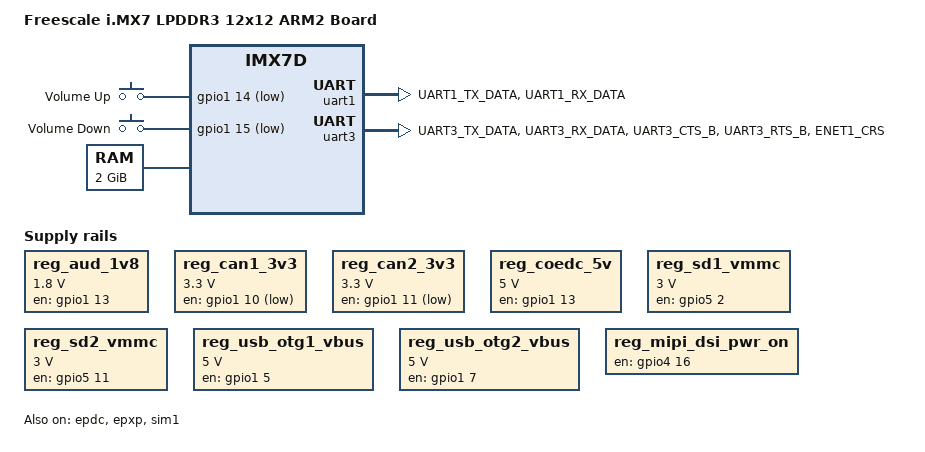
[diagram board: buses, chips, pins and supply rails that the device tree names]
/*
 * Copyright (C) 2015 Freescale Semiconductor, Inc.
 *
 * This program is free software; you can redistribute it and/or modify
 * it under the terms of the GNU General Public License version 2 as
 * published by the Free Software Foundation.
 */

/dts-v1/;

#include "imx7d.dtsi"

/ {
	model = "Freescale i.MX7 LPDDR3 12x12 ARM2 Board";
	compatible = "fsl,imx7d-12x12-lpddr3-arm2", "fsl,imx7d";

	backlight {
		compatible = "pwm-backlight";
		pwms = <&pwm1 0 5000000>;
		brightness-levels = <0 4 8 16 32 64 128 255>;
		default-brightness-level = <6>;
		status = "disabled";
	};

	gpio-keys {
		compatible = "gpio-keys";
		pinctrl-names = "default", "sleep";
		pinctrl-0 = <&pinctrl_gpio_keys>;
		pinctrl-1 = <&pinctrl_gpio_keys_sleep>;

		volume-up {
			label = "Volume Up";
			gpios = <&gpio1 14 GPIO_ACTIVE_LOW>;
			linux,code = <KEY_VOLUMEUP>;
		};

		volume-down {
			label = "Volume Down";
			gpios = <&gpio1 15 GPIO_ACTIVE_LOW>;
			linux,code = <KEY_VOLUMEDOWN>;
		};
	};

	pxp_v4l2_out {
		compatible = "fsl,imx7d-pxp-v4l2", "fsl,imx6sx-pxp-v4l2", "fsl,imx6sl-pxp-v4l2";
		status = "disabled";
	};

	regulators {
		compatible = "simple-bus";
		#address-cells = <1>;
		#size-cells = <0>;

		reg_aud_1v8: aud_1v8 {
			compatible = "regulator-fixed";
			regulator-name = "AUD_1V8";
			regulator-min-microvolt = <1800000>;
			regulator-max-microvolt = <1800000>;
			gpio = <&gpio1 13 GPIO_ACTIVE_HIGH>;
			enable-active-high;
		};

		reg_can1_3v3: can1-3v3 {
			compatible = "regulator-fixed";
			regulator-name = "can1-3v3";
			regulator-min-microvolt = <3300000>;
			regulator-max-microvolt = <3300000>;
			gpio = <&gpio1 10 GPIO_ACTIVE_LOW>;
		};

		reg_can2_3v3: can2-3v3 {
			compatible = "regulator-fixed";
			regulator-name = "can2-3v3";
			regulator-min-microvolt = <3300000>;
			regulator-max-microvolt = <3300000>;
			gpio = <&gpio1 11 GPIO_ACTIVE_LOW>;
		};

		reg_coedc_5v: coedc_5v {
			compatible = "regulator-fixed";
			regulator-name = "CODEC_5V";
			regulator-min-microvolt = <5000000>;
			regulator-max-microvolt = <5000000>;
			gpio = <&gpio1 13 GPIO_ACTIVE_HIGH>;
			enable-active-high;
		};

		reg_sd1_vmmc: sd1_vmmc{
			compatible = "regulator-fixed";
			regulator-name = "VCC_SD1";
			regulator-min-microvolt = <3000000>;
			regulator-max-microvolt = <3000000>;
			gpio = <&gpio5 2 GPIO_ACTIVE_HIGH>;
			enable-active-high;
		};

		reg_sd2_vmmc: sd2_vmmc{
			compatible = "regulator-fixed";
			regulator-name = "VCC_SD2";
			regulator-min-microvolt = <3000000>;
			regulator-max-microvolt = <3000000>;
			gpio = <&gpio5 11 GPIO_ACTIVE_HIGH>;
			enable-active-high;
		};

		reg_usb_otg1_vbus: regulator@0 {
			compatible = "regulator-fixed";
			reg = <0>;
			regulator-name = "usb_otg1_vbus";
			regulator-min-microvolt = <5000000>;
			regulator-max-microvolt = <5000000>;
			gpio = <&gpio1 5 GPIO_ACTIVE_HIGH>;
			enable-active-high;
		};

		reg_usb_otg2_vbus: regulator@1 {
			compatible = "regulator-fixed";
			reg = <1>;
			regulator-name = "usb_otg2_vbus";
			regulator-min-microvolt = <5000000>;
			regulator-max-microvolt = <5000000>;
			gpio = <&gpio1 7 GPIO_ACTIVE_HIGH>;
			enable-active-high;
		};

		reg_mipi_dsi_pwr_on: mipi_dsi_pwr_on {
			compatible = "regulator-fixed";
			regulator-name = "mipi_dsi_pwr_on";
			gpio = <&gpio4 16 GPIO_ACTIVE_HIGH>;
			enable-active-high;
                };
	};

	memory {
		reg = <0x80000000 0x80000000>;
	};
};

&cpu0 {
	arm-supply = <&sw1a_reg>;
};

&epdc {
        pinctrl-names = "default", "sleep";
        pinctrl-0 = <&pinctrl_epdc_0>;
        pinctrl-1 = <&pinctrl_epdc_0>;
        V3P3-supply = <&V3P3_reg>;
        VCOM-supply = <&VCOM_reg>;
        DISPLAY-supply = <&DISPLAY_reg>;
        status = "okay";
};

&epxp {
	status = "okay";
};

&ecspi1 {
	fsl,spi-num-chipselects = <1>;
	cs-gpios = <&gpio4 19 0>;
	pinctrl-names = "default";
	pinctrl-0 = <&pinctrl_ecspi1_1 &pinctrl_ecspi1_cs_1>;
	status = "disabled";

	spi_flash1: m25p80@0 {
		#address-cells = <1>;
		#size-cells = <1>;
		compatible = "st,m25p32";
		spi-max-frequency = <20000000>;
		reg = <0>;
	};
};

&fec1 {
	pinctrl-names = "default", "sleep";
	pinctrl-0 = <&pinctrl_enet1>;
	pinctrl-1 = <&pinctrl_enet1>;
	assigned-clocks = <&clks IMX7D_ENET1_TIME_ROOT_SRC>,
			  <&clks IMX7D_ENET1_TIME_ROOT_CLK>;
	assigned-clock-parents = <&clks IMX7D_PLL_ENET_MAIN_100M_CLK>;
	assigned-clock-rates = <0>, <100000000>;
	phy-mode = "rgmii";
	phy-handle = <&ethphy1>;
	fsl,magic-packet;
	status = "disabled";

	mdio {
		#address-cells = <1>;
		#size-cells = <0>;

		ethphy0: ethernet-phy@5 {
			compatible = "ethernet-phy-ieee802.3-c22";
			reg = <5>;
		};

		ethphy1: ethernet-phy@1 {
			compatible = "ethernet-phy-ieee802.3-c22";
			reg = <1>;
		};
	};
};

&fec2 {
	pinctrl-names = "default", "sleep";
	pinctrl-0 = <&pinctrl_enet2>;
	pinctrl-1 = <&pinctrl_enet2>;
	pinctrl-assert-gpios = <&max7322 0 GPIO_ACTIVE_HIGH>;
	assigned-clocks = <&clks IMX7D_ENET2_TIME_ROOT_SRC>,
			  <&clks IMX7D_ENET2_TIME_ROOT_CLK>;
	assigned-clock-parents = <&clks IMX7D_PLL_ENET_MAIN_100M_CLK>;
	assigned-clock-rates = <0>, <100000000>;
	phy-mode = "rgmii";
	phy-handle = <&ethphy0>;
	fsl,magic-packet;
	status = "disabled";
};

&flexcan1 {
	pinctrl-names = "default";
	pinctrl-0 = <&pinctrl_flexcan1>;
	xceiver-supply = <&reg_can1_3v3>;
	status = "disabled";
};

&flexcan2 {
	pinctrl-names = "default";
	pinctrl-0 = <&pinctrl_flexcan2>;
	xceiver-supply = <&reg_can2_3v3>;
	status = "disabled";
};

&i2c1 {
	clock-frequency = <100000>;
	pinctrl-names = "default";
	pinctrl-0 = <&pinctrl_i2c1_1>;
	status = "disabled";

	pmic: pfuze3000@08 {
		compatible = "fsl,pfuze3000";
		reg = <0x08>;

		regulators {
			sw1a_reg: sw1a {
				regulator-min-microvolt = <700000>;
				regulator-max-microvolt = <1475000>;
				regulator-boot-on;
				regulator-always-on;
				regulator-ramp-delay = <6250>;
			};
			/* use sw1c_reg to align with pfuze100/pfuze200 */
			sw1c_reg: sw1b {
				regulator-min-microvolt = <700000>;
				regulator-max-microvolt = <1475000>;
				regulator-boot-on;
				regulator-always-on;
				regulator-ramp-delay = <6250>;
			};

			sw2_reg: sw2 {
				regulator-min-microvolt = <1500000>;
				regulator-max-microvolt = <1850000>;
				regulator-boot-on;
				regulator-always-on;
			};

			sw3a_reg: sw3 {
				regulator-min-microvolt = <900000>;
				regulator-max-microvolt = <1650000>;
				regulator-boot-on;
				regulator-always-on;
			};

			swbst_reg: swbst {
				regulator-min-microvolt = <5000000>;
				regulator-max-microvolt = <5150000>;
			};

			snvs_reg: vsnvs {
				regulator-min-microvolt = <1000000>;
				regulator-max-microvolt = <3000000>;
				regulator-boot-on;
				regulator-always-on;
			};

			vref_reg: vrefddr {
				regulator-boot-on;
				regulator-always-on;
			};

			vgen1_reg: vldo1 {
				regulator-min-microvolt = <1800000>;
				regulator-max-microvolt = <3300000>;
				regulator-always-on;
			};

			vgen2_reg: vldo2 {
				regulator-min-microvolt = <800000>;
				regulator-max-microvolt = <1550000>;
			};

			vgen3_reg: vccsd {
				regulator-min-microvolt = <2850000>;
				regulator-max-microvolt = <3300000>;
				regulator-always-on;
			};

			vgen4_reg: v33 {
				regulator-min-microvolt = <2850000>;
				regulator-max-microvolt = <3300000>;
				regulator-always-on;
			};

			vgen5_reg: vldo3 {
				regulator-min-microvolt = <1800000>;
				regulator-max-microvolt = <3300000>;
				regulator-always-on;
			};

			vgen6_reg: vldo4 {
				regulator-min-microvolt = <1800000>;
				regulator-max-microvolt = <3300000>;
				regulator-always-on;
			};
		};
	};
};

&i2c3 {
	clock-frequency = <100000>;
	pinctrl-names = "default";
	pinctrl-0 = <&pinctrl_i2c3_1>;
	status = "disabled";

	max7322: gpio@68 {
		compatible = "maxim,max7322";
		reg = <0x68>;
		gpio-controller;
		#gpio-cells = <2>;
	};

	max17135@48 {
		compatible = "maxim,max17135";
		reg = <0x48>;
		vneg_pwrup = <1>;
		gvee_pwrup = <2>;
		vpos_pwrup = <10>;
		gvdd_pwrup = <12>;
		gvdd_pwrdn = <1>;
		vpos_pwrdn = <2>;
		gvee_pwrdn = <8>;
		vneg_pwrdn = <10>;
		gpio_pmic_pwrgood = <&gpio2 31 0>;
		gpio_pmic_vcom_ctrl = <&gpio4 14 0>;
		gpio_pmic_wakeup = <&gpio4 23 0>;
		gpio_pmic_v3p3 = <&gpio4 20 0>;
		gpio_pmic_intr = <&gpio4 18 0>;

		regulators {
			DISPLAY_reg: DISPLAY {
				regulator-name = "DISPLAY";
			};

			GVDD_reg: GVDD {
				/* 20v */
				regulator-name = "GVDD";
			};

			GVEE_reg: GVEE {
				/* -22v */
				regulator-name = "GVEE";
			};

			HVINN_reg: HVINN {
				/* -22v */
				regulator-name = "HVINN";
			};

			HVINP_reg: HVINP {
				/* 20v */
				regulator-name = "HVINP";
			};

			VCOM_reg: VCOM {
				regulator-name = "VCOM";
				/* 2's-compliment, -4325000 */
				regulator-min-microvolt = <0xffbe0178>;
				/* 2's-compliment, -500000 */
				regulator-max-microvolt = <0xfff85ee0>;
			};

			VNEG_reg: VNEG {
				/* -15v */
				regulator-name = "VNEG";
			};

			VPOS_reg: VPOS {
				/* 15v */
				regulator-name = "VPOS";
			};

			V3P3_reg: V3P3 {
				regulator-name = "V3P3";
			};
		};
	};

	codec: wm8958@1a {
		compatible = "wlf,wm8958";
		reg = <0x1a>;
		clocks = <&clks IMX7D_AUDIO_MCLK_ROOT_CLK>,
		         <&clks IMX7D_CLK_DUMMY>;
		clock-names = "mclk1", "mclk2";

		DBVDD1-supply = <&reg_aud_1v8>;
		DBVDD2-supply = <&reg_aud_1v8>;
		DBVDD3-supply = <&reg_aud_1v8>;
		AVDD2-supply = <&reg_aud_1v8>;
		CPVDD-supply = <&reg_aud_1v8>;
		SPKVDD1-supply = <&reg_coedc_5v>;
		SPKVDD2-supply = <&reg_coedc_5v>;
		wlf,ldo1ena;
		wlf,ldo2ena;
	};
};

&iomuxc {
	pinctrl-names = "default";
	pinctrl-0 = <&pinctrl_hog_1 &pinctrl_hog_sd2_vselect>;

	imx7d-12x12-lpddr3-arm2 {

		pinctrl_bt: btgrp-1 {
			fsl,pins = <
				MX7D_PAD_ENET1_CRS__GPIO7_IO14    0x80000000  /* BT REG on */
			>;
		};

		pinctrl_ecspi1_cs_1: ecspi1_cs_grp-1 {
			fsl,pins = <
				MX7D_PAD_ECSPI1_SS0__GPIO4_IO19     0x2
			>;
		};

		pinctrl_ecspi1_1: ecspi1grp-1 {
			fsl,pins = <
				MX7D_PAD_ECSPI1_MISO__ECSPI1_MISO   0x2
				MX7D_PAD_ECSPI1_MOSI__ECSPI1_MOSI   0x2
				MX7D_PAD_ECSPI1_SCLK__ECSPI1_SCLK   0x2
			>;
		};

		pinctrl_enet1: enet1grp {
			fsl,pins = <
				MX7D_PAD_GPIO1_IO10__ENET1_MDIO			0x3
				MX7D_PAD_GPIO1_IO11__ENET1_MDC			0x3
				MX7D_PAD_ENET1_RGMII_TXC__ENET1_RGMII_TXC	0x1
				MX7D_PAD_ENET1_RGMII_TD0__ENET1_RGMII_TD0	0x1
				MX7D_PAD_ENET1_RGMII_TD1__ENET1_RGMII_TD1	0x1
				MX7D_PAD_ENET1_RGMII_TD2__ENET1_RGMII_TD2	0x1
				MX7D_PAD_ENET1_RGMII_TD3__ENET1_RGMII_TD3	0x1
				MX7D_PAD_ENET1_RGMII_TX_CTL__ENET1_RGMII_TX_CTL	0x1
				MX7D_PAD_ENET1_RGMII_RXC__ENET1_RGMII_RXC	0x1
				MX7D_PAD_ENET1_RGMII_RD0__ENET1_RGMII_RD0	0x1
				MX7D_PAD_ENET1_RGMII_RD1__ENET1_RGMII_RD1	0x1
				MX7D_PAD_ENET1_RGMII_RD2__ENET1_RGMII_RD2	0x1
				MX7D_PAD_ENET1_RGMII_RD3__ENET1_RGMII_RD3	0x1
				MX7D_PAD_ENET1_RGMII_RX_CTL__ENET1_RGMII_RX_CTL	0x1
			>;
		};

		pinctrl_enet2: enet2grp {
			fsl,pins = <
				MX7D_PAD_EPDC_GDSP__ENET2_RGMII_TXC     0x1
				MX7D_PAD_EPDC_SDCE2__ENET2_RGMII_TD0    0x1
				MX7D_PAD_EPDC_SDCE3__ENET2_RGMII_TD1    0x1
				MX7D_PAD_EPDC_GDCLK__ENET2_RGMII_TD2    0x1
				MX7D_PAD_EPDC_GDOE__ENET2_RGMII_TD3     0x1
				MX7D_PAD_EPDC_GDRL__ENET2_RGMII_TX_CTL  0x1
				MX7D_PAD_EPDC_SDCE1__ENET2_RGMII_RXC    0x1
				MX7D_PAD_EPDC_SDCLK__ENET2_RGMII_RD0    0x1
				MX7D_PAD_EPDC_SDLE__ENET2_RGMII_RD1     0x1
				MX7D_PAD_EPDC_SDOE__ENET2_RGMII_RD2     0x1
				MX7D_PAD_EPDC_SDSHR__ENET2_RGMII_RD3    0x1
				MX7D_PAD_EPDC_SDCE0__ENET2_RGMII_RX_CTL 0x1
			>;
		};

		pinctrl_epdc_0: epdcgrp-0 {
			fsl,pins = <
				MX7D_PAD_EPDC_DATA00__EPDC_DATA0  0x2
				MX7D_PAD_EPDC_DATA01__EPDC_DATA1  0x2
				MX7D_PAD_EPDC_DATA02__EPDC_DATA2  0x2
				MX7D_PAD_EPDC_DATA03__EPDC_DATA3  0x2
				MX7D_PAD_EPDC_DATA04__EPDC_DATA4  0x2
				MX7D_PAD_EPDC_DATA05__EPDC_DATA5  0x2
				MX7D_PAD_EPDC_DATA06__EPDC_DATA6  0x2
				MX7D_PAD_EPDC_DATA07__EPDC_DATA7  0x2
				MX7D_PAD_EPDC_DATA08__EPDC_DATA8  0x2
				MX7D_PAD_EPDC_DATA09__EPDC_DATA9  0x2
				MX7D_PAD_EPDC_DATA10__EPDC_DATA10 0x2
				MX7D_PAD_EPDC_DATA11__EPDC_DATA11 0x2
				MX7D_PAD_EPDC_DATA12__EPDC_DATA12 0x2
				MX7D_PAD_EPDC_DATA13__EPDC_DATA13 0x2
				MX7D_PAD_EPDC_DATA14__EPDC_DATA14 0x2
				MX7D_PAD_EPDC_DATA15__EPDC_DATA15 0x2
				MX7D_PAD_EPDC_SDCLK__EPDC_SDCLK   0x2
				MX7D_PAD_EPDC_SDLE__EPDC_SDLE     0x2
				MX7D_PAD_EPDC_SDOE__EPDC_SDOE     0x2
				MX7D_PAD_EPDC_SDSHR__EPDC_SDSHR   0x2
				MX7D_PAD_EPDC_SDCE0__EPDC_SDCE0   0x2
				MX7D_PAD_EPDC_SDCE1__EPDC_SDCE1   0x2
				MX7D_PAD_EPDC_SDCE2__EPDC_SDCE2   0x2
				MX7D_PAD_EPDC_SDCE3__EPDC_SDCE3   0x2
				MX7D_PAD_EPDC_GDCLK__EPDC_GDCLK   0x2
				MX7D_PAD_EPDC_GDOE__EPDC_GDOE     0x2
				MX7D_PAD_EPDC_GDRL__EPDC_GDRL     0x2
				MX7D_PAD_EPDC_GDSP__EPDC_GDSP     0x2
				MX7D_PAD_EPDC_BDR0__EPDC_BDR0     0x2
				MX7D_PAD_EPDC_BDR1__EPDC_BDR1     0x2
				MX7D_PAD_ECSPI1_MISO__GPIO4_IO18  0x80000000  /* pwr int */
			>;
		};

		pinctrl_flexcan1: flexcan1grp {
			fsl,pins = <
				MX7D_PAD_SAI1_RX_DATA__FLEXCAN1_RX	0x59
				MX7D_PAD_SAI1_TX_BCLK__FLEXCAN1_TX	0x59
				MX7D_PAD_GPIO1_IO10__GPIO1_IO10		0x59 /* STBY */
			>;
		};

		pinctrl_flexcan2: flexcan2grp {
			fsl,pins = <
				MX7D_PAD_SAI1_TX_SYNC__FLEXCAN2_RX	0x59
				MX7D_PAD_SAI1_TX_DATA__FLEXCAN2_TX	0x59
				MX7D_PAD_GPIO1_IO11__GPIO1_IO11		0x59  /* STBY */
			>;
		};

		pinctrl_gpio_keys: gpio_keysgrp {
			fsl,pins = <
				MX7D_PAD_GPIO1_IO14__GPIO1_IO14 0x32
				MX7D_PAD_GPIO1_IO15__GPIO1_IO15 0x32
			>;
		};

		pinctrl_gpio_keys_sleep: gpio_keysgrp_sleep {
			fsl,pins = <
				MX7D_PAD_GPIO1_IO14__GPIO1_IO14 0x14
				MX7D_PAD_GPIO1_IO15__GPIO1_IO15 0x14
			>;
		};

		pinctrl_hog_1: hoggrp-1 {
			fsl,pins = <
				MX7D_PAD_I2C4_SCL__GPIO4_IO14	0x80000000
				MX7D_PAD_EPDC_PWR_STAT__GPIO2_IO31 0x80000000
				MX7D_PAD_ECSPI2_SCLK__GPIO4_IO20  0x80000000
				MX7D_PAD_ECSPI2_MOSI__GPIO4_IO21  0x80000000
				MX7D_PAD_ECSPI2_MISO__GPIO4_IO22  0x80000000
				MX7D_PAD_ECSPI2_SS0__GPIO4_IO23	  0x80000000
				MX7D_PAD_SD1_RESET_B__GPIO5_IO2   0x59
				MX7D_PAD_SD1_CD_B__GPIO5_IO0      0x59
				MX7D_PAD_SD1_WP__GPIO5_IO1        0x59
				MX7D_PAD_SD2_CD_B__GPIO5_IO9      0x59
				MX7D_PAD_SD2_WP__GPIO5_IO10       0x59
				MX7D_PAD_SD2_RESET_B__GPIO5_IO11  0x59
				MX7D_PAD_GPIO1_IO13__GPIO1_IO13   0x59

                                MX7D_PAD_ECSPI1_SCLK__GPIO4_IO16  0x59
                                MX7D_PAD_ECSPI1_MOSI__GPIO4_IO17  0x59
			>;
		};

		pinctrl_hog_sd2_vselect: hoggrp_sd2vselect {
			fsl,pins = <
				MX7D_PAD_GPIO1_IO12__SD2_VSELECT  0x59
			>;
		};

		pinctrl_hog_headphone_det: hoggrp_headphone_det {
			fsl,pins = <
				MX7D_PAD_GPIO1_IO12__GPIO1_IO12	  0x59
			>;
		};

		pinctrl_i2c1_1: i2c1grp-1 {
			fsl,pins = <
				MX7D_PAD_I2C1_SDA__I2C1_SDA          0x4000007f
				MX7D_PAD_I2C1_SCL__I2C1_SCL          0x4000007f
			>;
		};

		pinctrl_i2c2_1: i2c2grp-1 {
			fsl,pins = <
				MX7D_PAD_I2C2_SDA__I2C2_SDA          0x4000007f
				MX7D_PAD_I2C2_SCL__I2C2_SCL          0x4000007f
			>;
		};

		pinctrl_i2c3_1: i2c3grp-1 {
			fsl,pins = <
				MX7D_PAD_I2C3_SDA__I2C3_SDA	     0x4000007f
				MX7D_PAD_I2C3_SCL__I2C3_SCL          0x4000007f
			>;
		};

		pinctrl_i2c4_1: i2c4grp-1 {
			fsl,pins = <
				MX7D_PAD_I2C4_SDA__I2C4_SDA          0x4000007f
				MX7D_PAD_I2C4_SCL__I2C4_SCL          0x4000007f
			>;
		};

		pinctrl_lcdif_dat: lcdifdatgrp {
			fsl,pins = <
				MX7D_PAD_LCD_DATA00__LCD_DATA0  0x79
				MX7D_PAD_LCD_DATA01__LCD_DATA1  0x79
				MX7D_PAD_LCD_DATA02__LCD_DATA2  0x79
				MX7D_PAD_LCD_DATA03__LCD_DATA3  0x79
				MX7D_PAD_LCD_DATA04__LCD_DATA4  0x79
				MX7D_PAD_LCD_DATA05__LCD_DATA5  0x79
				MX7D_PAD_LCD_DATA06__LCD_DATA6  0x79
				MX7D_PAD_LCD_DATA07__LCD_DATA7  0x79
				MX7D_PAD_LCD_DATA08__LCD_DATA8  0x79
				MX7D_PAD_LCD_DATA09__LCD_DATA9  0x79
				MX7D_PAD_LCD_DATA10__LCD_DATA10 0x79
				MX7D_PAD_LCD_DATA11__LCD_DATA11 0x79
				MX7D_PAD_LCD_DATA12__LCD_DATA12 0x79
				MX7D_PAD_LCD_DATA13__LCD_DATA13 0x79
				MX7D_PAD_LCD_DATA14__LCD_DATA14 0x79
				MX7D_PAD_LCD_DATA15__LCD_DATA15 0x79
				MX7D_PAD_LCD_DATA16__LCD_DATA16 0x79
				MX7D_PAD_LCD_DATA17__LCD_DATA17 0x79
				MX7D_PAD_LCD_DATA18__LCD_DATA18 0x79
				MX7D_PAD_LCD_DATA19__LCD_DATA19 0x79
				MX7D_PAD_LCD_DATA20__LCD_DATA20 0x79
				MX7D_PAD_LCD_DATA21__LCD_DATA21 0x79
				MX7D_PAD_LCD_DATA22__LCD_DATA22 0x79
				MX7D_PAD_LCD_DATA23__LCD_DATA23 0x79
			>;
		};

		pinctrl_lcdif_ctrl: lcdifctrlgrp {
			fsl,pins = <
				MX7D_PAD_LCD_CLK__LCD_CLK       0x79
				MX7D_PAD_LCD_ENABLE__LCD_ENABLE 0x79
				MX7D_PAD_LCD_VSYNC__LCD_VSYNC   0x79
				MX7D_PAD_LCD_HSYNC__LCD_HSYNC   0x79
			>;
		};

		pinctrl_mqs: mqsgrp {
			fsl,pins = <
				MX7D_PAD_SAI1_RX_SYNC__MQS_RIGHT     0x0
				MX7D_PAD_SAI1_RX_BCLK__MQS_LEFT      0x0
			>;
		};

		pinctrl_pcie: pciegrp {
			fsl,pins = <
				MX7D_PAD_SAI2_TX_SYNC__GPIO6_IO19	0x2
				MX7D_PAD_SAI2_RX_DATA__GPIO6_IO21	0x2
			>;
		};

		pinctrl_pwm1: pwm1grp {
			fsl,pins = <
				MX7D_PAD_GPIO1_IO08__PWM1_OUT 0x110b0
			>;
		};

		pinctrl_sai1: sai1grp {
			fsl,pins = <
				MX7D_PAD_SAI1_MCLK__SAI1_MCLK           0x1f
				MX7D_PAD_SAI1_TX_BCLK__SAI1_TX_BCLK     0x1f
				MX7D_PAD_SAI1_TX_SYNC__SAI1_TX_SYNC     0x1f
				MX7D_PAD_SAI1_RX_SYNC__SAI1_RX_SYNC     0x1f
				MX7D_PAD_SAI1_RX_DATA__SAI1_RX_DATA0    0x1f
				MX7D_PAD_SAI1_TX_DATA__SAI1_TX_DATA0    0
			>;
		};

		pinctrl_sai2: sai2grp {
			fsl,pins = <
				MX7D_PAD_SAI2_TX_BCLK__SAI2_TX_BCLK     0x1f
				MX7D_PAD_SAI2_TX_SYNC__SAI2_TX_SYNC     0x1f
				MX7D_PAD_SAI2_RX_DATA__SAI2_RX_DATA0    0x1f
				MX7D_PAD_SAI2_TX_DATA__SAI2_TX_DATA0    0
			>;
		};

		pinctrl_uart1_1: uart1grp-1 {
			fsl,pins = <
				MX7D_PAD_UART1_TX_DATA__UART1_DCE_TX 0x79
				MX7D_PAD_UART1_RX_DATA__UART1_DCE_RX 0x79
			>;
		};

		pinctrl_uart3_1: uart3grp-1 {
			fsl,pins = <
				MX7D_PAD_UART3_TX_DATA__UART3_DCE_TX    0x79
				MX7D_PAD_UART3_RX_DATA__UART3_DCE_RX    0x79
				MX7D_PAD_UART3_CTS_B__UART3_DCE_CTS     0x79
				MX7D_PAD_UART3_RTS_B__UART3_DCE_RTS     0x79
			>;
		};

		pinctrl_uart3dte_1: uart3dtegrp-1 {
			fsl,pins = <
				MX7D_PAD_UART3_TX_DATA__UART3_DTE_RX    0x79
				MX7D_PAD_UART3_RX_DATA__UART3_DTE_TX    0x79
				MX7D_PAD_UART3_RTS_B__UART3_DTE_CTS     0x79
				MX7D_PAD_UART3_CTS_B__UART3_DTE_RTS     0x79
			>;
		};

		pinctrl_usdhc1_1: usdhc1grp-1 {
			fsl,pins = <
				MX7D_PAD_SD1_CMD__SD1_CMD	0x59
				MX7D_PAD_SD1_CLK__SD1_CLK	0x19
				MX7D_PAD_SD1_DATA0__SD1_DATA0	0x59
				MX7D_PAD_SD1_DATA1__SD1_DATA1	0x59
				MX7D_PAD_SD1_DATA2__SD1_DATA2	0x59
				MX7D_PAD_SD1_DATA3__SD1_DATA3	0x59
			>;
		};

		pinctrl_usdhc2_1: usdhc2grp-1 {
			fsl,pins = <
				MX7D_PAD_SD2_CMD__SD2_CMD	0x59
				MX7D_PAD_SD2_CLK__SD2_CLK	0x19
				MX7D_PAD_SD2_DATA0__SD2_DATA0	0x59
				MX7D_PAD_SD2_DATA1__SD2_DATA1	0x59
				MX7D_PAD_SD2_DATA2__SD2_DATA2	0x59
				MX7D_PAD_SD2_DATA3__SD2_DATA3	0x59
			>;
		};

		pinctrl_usdhc2_1_100mhz: usdhc2grp-1_100mhz {
			fsl,pins = <
				MX7D_PAD_SD2_CMD__SD2_CMD	0x5a
				MX7D_PAD_SD2_CLK__SD2_CLK	0x1a
				MX7D_PAD_SD2_DATA0__SD2_DATA0	0x5a
				MX7D_PAD_SD2_DATA1__SD2_DATA1	0x5a
				MX7D_PAD_SD2_DATA2__SD2_DATA2	0x5a
				MX7D_PAD_SD2_DATA3__SD2_DATA3	0x5a
			>;
		};

		pinctrl_usdhc2_1_200mhz: usdhc2grp-1_200mhz {
			fsl,pins = <
				MX7D_PAD_SD2_CMD__SD2_CMD	0x5b
				MX7D_PAD_SD2_CLK__SD2_CLK	0x1b
				MX7D_PAD_SD2_DATA0__SD2_DATA0	0x5b
				MX7D_PAD_SD2_DATA1__SD2_DATA1	0x5b
				MX7D_PAD_SD2_DATA2__SD2_DATA2	0x5b
				MX7D_PAD_SD2_DATA3__SD2_DATA3	0x5b
			>;
		};

		pinctrl_usdhc3_1: usdhc3grp-1 {
			fsl,pins = <
				MX7D_PAD_SD3_CMD__SD3_CMD	0x59
				MX7D_PAD_SD3_CLK__SD3_CLK	0x19
				MX7D_PAD_SD3_DATA0__SD3_DATA0	0x59
				MX7D_PAD_SD3_DATA1__SD3_DATA1	0x59
				MX7D_PAD_SD3_DATA2__SD3_DATA2	0x59
				MX7D_PAD_SD3_DATA3__SD3_DATA3	0x59
				MX7D_PAD_SD3_DATA4__SD3_DATA4	0x59
				MX7D_PAD_SD3_DATA5__SD3_DATA5	0x59
				MX7D_PAD_SD3_DATA6__SD3_DATA6	0x59
				MX7D_PAD_SD3_DATA7__SD3_DATA7	0x59
				MX7D_PAD_SD3_STROBE__SD3_STROBE	0x19
			>;
		};

		pinctrl_usdhc3_1_100mhz: usdhc3grp-1_100mhz {
			fsl,pins = <
				MX7D_PAD_SD3_CMD__SD3_CMD	0x5a
				MX7D_PAD_SD3_CLK__SD3_CLK	0x1a
				MX7D_PAD_SD3_DATA0__SD3_DATA0	0x5a
				MX7D_PAD_SD3_DATA1__SD3_DATA1	0x5a
				MX7D_PAD_SD3_DATA2__SD3_DATA2	0x5a
				MX7D_PAD_SD3_DATA3__SD3_DATA3	0x5a
				MX7D_PAD_SD3_DATA4__SD3_DATA4	0x5a
				MX7D_PAD_SD3_DATA5__SD3_DATA5	0x5a
				MX7D_PAD_SD3_DATA6__SD3_DATA6	0x5a
				MX7D_PAD_SD3_DATA7__SD3_DATA7	0x5a
				MX7D_PAD_SD3_STROBE__SD3_STROBE	0x1a
			>;
		};

		pinctrl_usdhc3_1_200mhz: usdhc3grp-1_200mhz {
			fsl,pins = <
				MX7D_PAD_SD3_CMD__SD3_CMD	0x5b
				MX7D_PAD_SD3_CLK__SD3_CLK	0x1b
				MX7D_PAD_SD3_DATA0__SD3_DATA0	0x5b
				MX7D_PAD_SD3_DATA1__SD3_DATA1	0x5b
				MX7D_PAD_SD3_DATA2__SD3_DATA2	0x5b
				MX7D_PAD_SD3_DATA3__SD3_DATA3	0x5b
				MX7D_PAD_SD3_DATA4__SD3_DATA4	0x5b
				MX7D_PAD_SD3_DATA5__SD3_DATA5	0x5b
				MX7D_PAD_SD3_DATA6__SD3_DATA6	0x5b
				MX7D_PAD_SD3_DATA7__SD3_DATA7	0x5b
				MX7D_PAD_SD3_STROBE__SD3_STROBE	0x1b
			>;
		};

		pinctrl_sim1_1: sim1grp-1 {
			fsl,pins = <
				MX7D_PAD_SAI1_TX_SYNC__SIM1_PORT1_RST_B         0x77
				MX7D_PAD_SAI1_RX_SYNC__SIM1_PORT1_PD            0x77
				MX7D_PAD_SAI1_TX_DATA__SIM1_PORT1_SVEN          0x77
				MX7D_PAD_SAI1_TX_BCLK__SIM1_PORT1_CLK           0x73
				MX7D_PAD_SAI1_RX_DATA__SIM1_PORT1_TRXD          0x73
			>;
		};

	};
};

&iomuxc_lpsr {
	imx7d-sdb {
		pinctrl_usbotg1_vbus: usbotg1vbusgrp {
			fsl,pins = <
				MX7D_PAD_GPIO1_IO05__GPIO1_IO5 	  0x14
			>;
		};

		pinctrl_usbotg2_vbus: usbotg2vbusgrp {
			fsl,pins = <
				MX7D_PAD_GPIO1_IO07__GPIO1_IO7    0x14
			>;
		};
	};
};

&lcdif {
	pinctrl-names = "default";
	pinctrl-0 = <&pinctrl_lcdif_dat
		     &pinctrl_lcdif_ctrl>;
	display = <&display0>;
	status = "disabled";

	display0: display {
		bits-per-pixel = <16>;
		bus-width = <24>;

		display-timings {
			native-mode = <&timing0>;
			timing0: timing0 {
				clock-frequency = <33500000>;
				hactive = <800>;
				vactive = <480>;
				hback-porch = <89>;
				hfront-porch = <164>;
				vback-porch = <23>;
				vfront-porch = <10>;
				hsync-len = <10>;
				vsync-len = <10>;
				hsync-active = <0>;
				vsync-active = <0>;
				de-active = <1>;
				pixelclk-active = <0>;
			};
		};
	};
};

&ocrams {
	fsl,enable-lpsr;
};

&pcie {
	pinctrl-names = "default";
	pinctrl-0 = <&pinctrl_pcie>;
	reset-gpio = <&gpio6 21 GPIO_ACTIVE_LOW>;
	power-on-gpio = <&gpio6 19 GPIO_ACTIVE_HIGH>;
	status = "disabled";
};

&pwm1 {
	pinctrl-names = "default";
	pinctrl-0 = <&pinctrl_pwm1>;
	status = "disabled";
};

&uart1 {
	pinctrl-names = "default", "sleep";
	pinctrl-0 = <&pinctrl_uart1_1>;
	pinctrl-1 = <&pinctrl_uart1_1>;
	assigned-clocks = <&clks IMX7D_UART1_ROOT_SRC>;
	assigned-clock-parents = <&clks IMX7D_OSC_24M_CLK>;
	status = "okay";
};

&uart3 {
	pinctrl-names = "default", "sleep";
	pinctrl-0 = <&pinctrl_uart3_1
		     &pinctrl_bt>;
	pinctrl-1 = <&pinctrl_uart3_1
		     &pinctrl_bt>;
	fsl,uart-has-rtscts;
	assigned-clocks = <&clks IMX7D_UART3_ROOT_SRC>;
	assigned-clock-parents = <&clks IMX7D_PLL_SYS_MAIN_240M_CLK>;
	status = "okay";
	/* for DTE mode, add below change */
	/* fsl,dte-mode;*/
	/* pinctrl-0 = <&pinctrl_uart3dte_1>; */
};

&usbotg1 {
	vbus-supply = <&reg_usb_otg1_vbus>;
	srp-disable;
	hnp-disable;
	adp-disable;
	status = "disabled";
};

&usbotg2 {
	vbus-supply = <&reg_usb_otg2_vbus>;
	srp-disable;
	hnp-disable;
	adp-disable;
	status = "disabled";
};

&usdhc1 {
	pinctrl-names = "default", "sleep";
	pinctrl-0 = <&pinctrl_usdhc1_1>;
	pinctrl-1 = <&pinctrl_usdhc1_1>;
	cd-gpios = <&gpio5 0 GPIO_ACTIVE_LOW>;
	wp-gpios = <&gpio5 1 GPIO_ACTIVE_HIGH>;
	no-1-8-v;
	keep-power-in-suspend;
	enable-sdio-wakeup;
	vmmc-supply = <&reg_sd1_vmmc>;
	status = "disabled";
};

&usdhc2 {
	pinctrl-names = "default", "state_100mhz", "state_200mhz", "sleep";
	pinctrl-0 = <&pinctrl_usdhc2_1>;
	pinctrl-1 = <&pinctrl_usdhc2_1_100mhz>;
	pinctrl-2 = <&pinctrl_usdhc2_1_200mhz>;
	pinctrl-3 = <&pinctrl_usdhc2_1>;
	cd-gpios = <&gpio5 9 GPIO_ACTIVE_LOW>;
	wp-gpios = <&gpio5 10 GPIO_ACTIVE_HIGH>;
	keep-power-in-suspend;
	enable-sdio-wakeup;
	fsl,tuning-step = <2>;
	vmmc-supply = <&reg_sd2_vmmc>;
	status = "disabled";
};

&usdhc3 {
	pinctrl-names = "default", "state_100mhz", "state_200mhz", "sleep";
	pinctrl-0 = <&pinctrl_usdhc3_1>;
	pinctrl-1 = <&pinctrl_usdhc3_1_100mhz>;
	pinctrl-2 = <&pinctrl_usdhc3_1_200mhz>;
	pinctrl-3 = <&pinctrl_usdhc3_1>;
	assigned-clocks = <&clks IMX7D_USDHC3_ROOT_CLK>;
	assigned-clock-rates = <400000000>;
	bus-width = <8>;
	fsl,tuning-step = <2>;
	non-removable;
	keep-power-in-suspend;
	status = "disabled";
};

&sim1 {
	pinctrl-names = "default";
	pinctrl-0 = <&pinctrl_sim1_1>;
	status = "okay";
};
